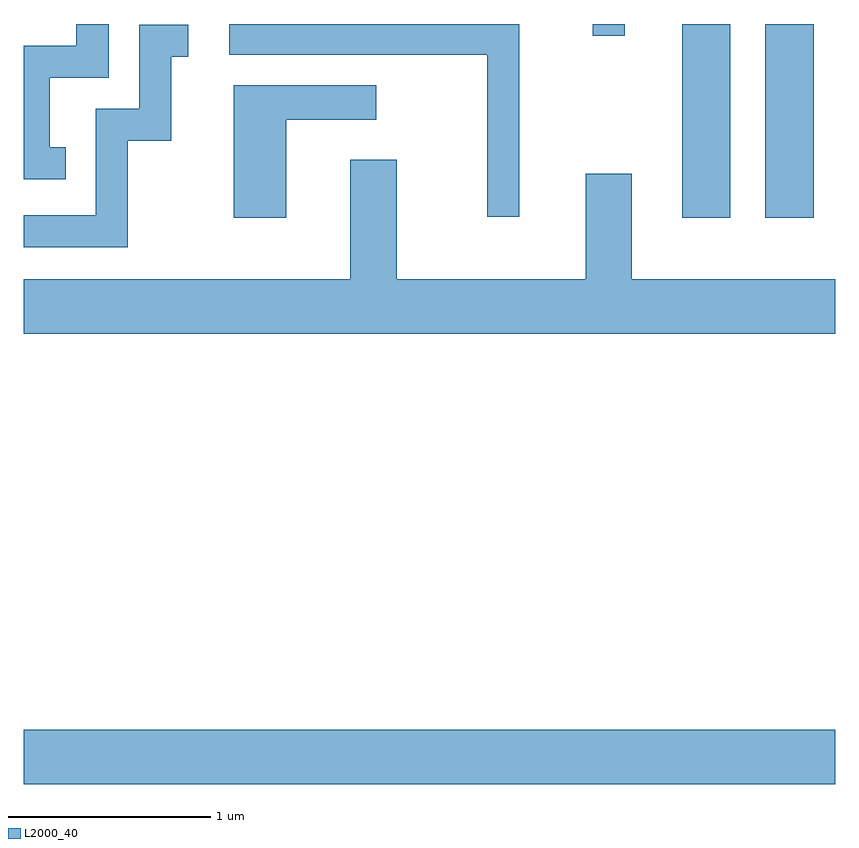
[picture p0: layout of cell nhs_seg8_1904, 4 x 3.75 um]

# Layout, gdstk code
import gdstk
lib = gdstk.Library(unit=1e-6, precision=1e-09)
def R(c, l, rs):  # rectangles x0, y0, x1, y1
    for r in rs: c.add(gdstk.rectangle(r[:2], r[2:], *l))
def P(c, l, *ps):  # polygons
    for p in ps: c.add(gdstk.Polygon(p, *l))
L2000_40 = (2000, 40)

nhs_seg8_1904 = lib.new_cell('nhs_seg8_1904')
R(nhs_seg8_1904, L2000_40, [(241.611,1878.596,245.611,1878.864), (244.856,1881.386,245.094,1882.342), (245.266,1881.386,245.504,1882.342), (244.416,1882.283,244.574,1882.342)])
P(nhs_seg8_1904, L2000_40, [(244.054,1882.342),(242.623,1882.342),(242.623,1882.191),(243.896,1882.191),(243.896,1881.393),(244.054,1881.393)],
  [(241.818,1881.734),(241.739,1881.734),(241.739,1882.076),(242.029,1882.076),(242.029,1882.342),(241.871,1882.342),(241.871,1882.234),(241.611,1882.234),(241.611,1881.576),(241.818,1881.576)],
  [(242.124,1881.766),(242.339,1881.766),(242.339,1882.181),(242.423,1882.181),(242.423,1882.339),(242.181,1882.339),(242.181,1881.924),(241.966,1881.924),(241.966,1881.399),(241.611,1881.399),(241.611,1881.241),(242.124,1881.241)],
  [(242.904,1881.871),(243.348,1881.871),(243.348,1882.039),(242.646,1882.039),(242.646,1881.386),(242.904,1881.386)],
  [(245.611,1881.084),(244.609,1881.084),(244.609,1881.604),(244.381,1881.604),(244.381,1881.084),(243.449,1881.084),(243.449,1881.674),(243.221,1881.674),(243.221,1881.084),(241.611,1881.084),(241.611,1880.816),(245.611,1880.816)])

lib.write_gds('nhs_seg8_1904.gds')
